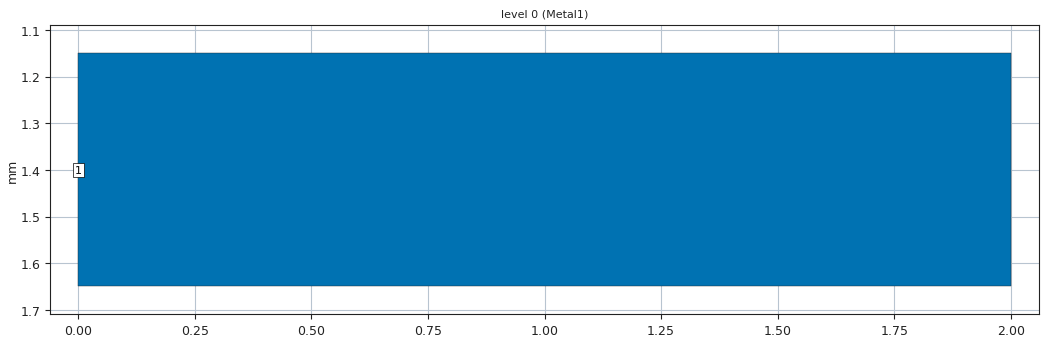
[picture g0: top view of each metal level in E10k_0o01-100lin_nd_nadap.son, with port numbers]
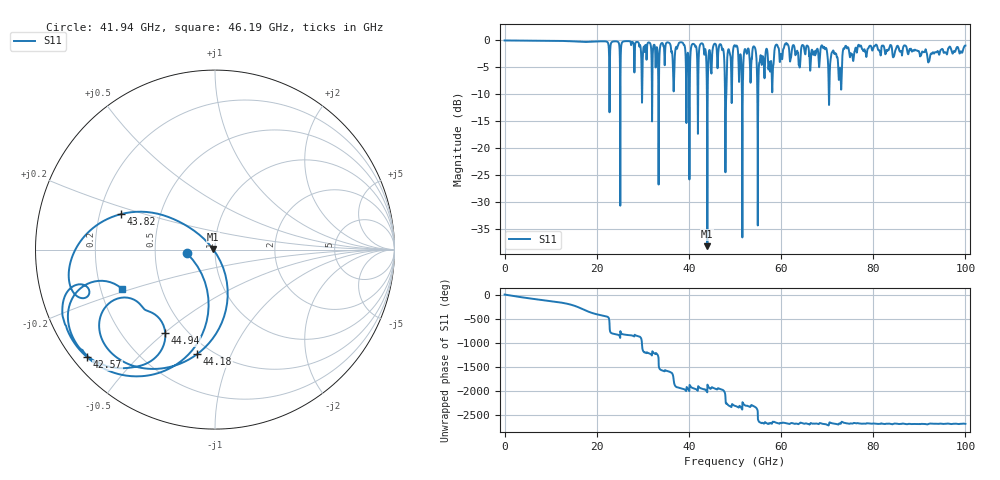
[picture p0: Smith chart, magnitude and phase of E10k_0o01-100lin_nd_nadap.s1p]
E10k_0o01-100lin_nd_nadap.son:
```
FTYP SONPROJ 19 ! Sonnet Project File
VER 18.56
HEADER
LIC sonnet10.72.52417
DAT 03/11/2023 11:16:36
BUILT_BY_CREATED xgeom 18.56 02/17/2023 13:10:04
BUILT_BY_SAVED sonnet 18.56
MDATE 03/11/2023 11:16:36
HDATE 03/11/2023 11:16:36
END HEADER
DIM
ANG DEG
CAP PF
CON /OH
FREQ GHZ
IND NH
LNG MM
RES OH
END DIM
CONTROL
VARSWP
OPTIONS 
SPEED 0
CACHE_ABS 2
Q_ACC N
END CONTROL
GEO
TMET "Lossless" 0 SUP 0 0 0 0
BMET "Lossless" 0 SUP 0 0 0 0
MET "Copper" 1 NOR 58000000 0.5 0.1 
BOX 1 10 5 400 200 20 0
      5 1 1 0 0 0 0 "Air"
      1 10 1 0.005 0 0 0 "Substrate"
TECHLAY METAL Metal1 <UNSPECIFIED> -2 -65534 
0 0 0 N 34 1 1 100 100 0 0 0 Y
END
END
LORGN 0 6.35 U 
POR1 BOX
POLY 24 1
3
1 50 0 0 0 0 1.4 
NUM 1
0 5 0 N 24 1 1 100 100 0 0 0 Y
TLAYNAM Metal1 INH
0 1.15
2 1.15
2 1.65
0 1.65
0 1.15
END
END GEO
OPT
MAX 100
END OPT
VARSWP
ENABLED Y
FREQ Y AN SWEEP 0.01 100.0 0.01
END
END VARSWP
FILEOUT
TOUCH D Y $BASENAME.s1p IC 15 S MA R 50.00000
FOLDER .
END FILEOUT
```
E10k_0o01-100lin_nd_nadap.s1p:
! Sonnet Data File
! From: em Version : 18.56
! From Project: E10k_0o1-100lin_nd_nadap
! Data is De-embedded
! Data File Written: 03/11/2023 11:40:15
!< HDATE 03/11/2023 11:16:36
!< MDATE 03/11/2023 11:16:36
# GHZ S MA R 50.00000
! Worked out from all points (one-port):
!   10000 points, 10 MHz to 100 GHz, reference 50 ohm
!   lowest |S11| = -38.3 dB at 44 GHz (marker M1), VSWR 1.02, Z = 48.9 + j0.364 ohm
!   |S11| at or under -10 dB: 43.91012 GHz to 44.08271 GHz (172.6 MHz wide, 0.392 % of centre); 47.83 GHz to 48.12 GHz (287.6 MHz wide, 0.599 % of centre); 54.84945 GHz to 55.0498 GHz (200.3 MHz wide, 0.365 % of centre)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
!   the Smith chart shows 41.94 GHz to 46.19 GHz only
!   S11 on the Smith chart (normalised r, x): 41.94 GHz: 0.73, -0.03; 42.57 GHz: 0.04, -0.36; 43.82 GHz: 0.29, +0.17; 44.18 GHz: 0.42, -0.75; 44.94 GHz: 0.38, -0.50; 46.19 GHz: 0.29, -0.19
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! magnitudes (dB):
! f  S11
! 10 MHz  0.0
! 33.34 GHz  -6.7
! 41.94 GHz  -16.0
! 42.57 GHz  -0.6
! 43.82 GHz  -5.0
! 44 GHz  -38.3
! 44.18 GHz  -4.6
! 44.94 GHz  -5.3
! 46.19 GHz  -5.0
! 47.99 GHz  -15.1
! 50.09 GHz  -1.1
! 51.29 GHz  -3.0
! 66.68 GHz  -1.7
! 100 GHz  -0.9
